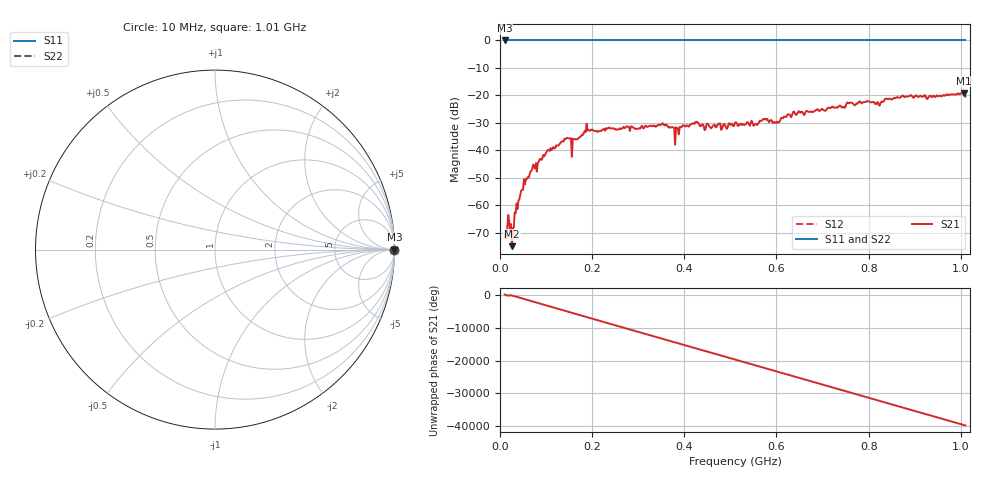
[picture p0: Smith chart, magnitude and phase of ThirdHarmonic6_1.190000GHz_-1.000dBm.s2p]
! 8/16/2025 12:13:59 PM
! C:\ANRITSUVNA\TEMP\TEMP.S2P
! CHANNEL.1
! TR.MEASUREMENT
! RAW.DATA
! RF.CORRECTION.OFF
! AVERAGING.OFF
! IF.BANDWIDTH: 5KHZ
! SWEEPTYPE:  FREQ.SWEEP(Linear)
! Reference Plane Port Info
! PORT:  PORT1  PORT2
! DISTANCE:  0  m  0  m
! TIME:  0  s  0  s
! PHASE.OFFSET:  0  deg.  0  deg.
! LOSS:  0  dB  0  dB
! REF.LOSS:  0  dB  0  dB
! REF.FREQ:  0  Hz  0  Hz
! Power Info
! POWER:  -20  dBm  -20  dBm
! EFF.POWER:  -20  dBm  -20  dBm
! SOURCE.ATTEN:  0  dB  0  dB
! TEST.ATTEN:  0  dB  0  dB
# GHZ S RI R 50.0
! FREQ.GHZ  S11RE  S11IM  S21RE  S21IM  S12RE  S12IM  S22RE  S22IM
!; PortSelection: Port_12
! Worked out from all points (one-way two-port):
!   501 points, 10 MHz to 1.01 GHz, reference 50 ohm
!   highest |S21| = -19.14 dB at 1.006 GHz (marker M1); lowest = -74.9 dB at 26 MHz (marker M2)
!   lowest |S11| = 0.0 dB at 10 MHz (marker M3)
!   |S11| at or under -10 dB: nowhere
!   |S22| runs from 0.0 to 0.0 dB; largest |S21 - S12| = 1.1
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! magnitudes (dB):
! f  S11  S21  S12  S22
! 10 MHz  0.0  -70.6  0.0  0.0
! 20 MHz  0.0  -66.3  0.0  0.0
! 26 MHz  0.0  -74.9  0.0  0.0
! 36 MHz  0.0  -59.4  0.0  0.0
! 48 MHz  0.0  -54.4  0.0  0.0
! 70 MHz  0.0  -46.9  0.0  0.0
! 106 MHz  0.0  -39.8  0.0  0.0
! 144 MHz  0.0  -35.7  0.0  0.0
! 160 MHz  0.0  -35.9  0.0  0.0
! 178 MHz  0.0  -34.4  0.0  0.0
! 192 MHz  0.0  -32.6  0.0  0.0
! 344 MHz  0.0  -30.7  0.0  0.0
! 384 MHz  0.0  -32.0  0.0  0.0
! 424 MHz  0.0  -29.8  0.0  0.0
! 444 MHz  0.0  -32.7  0.0  0.0
! 510 MHz  0.0  -30.0  0.0  0.0
! 602 MHz  0.0  -29.6  0.0  0.0
! 638 MHz  0.0  -25.9  0.0  0.0
! 678 MHz  0.0  -26.1  0.0  0.0
! 844 MHz  0.0  -21.3  0.0  0.0
! 1.006 GHz  0.0  -19.1  0.0  0.0
! 1.01 GHz  0.0  -20.5  0.0  0.0
